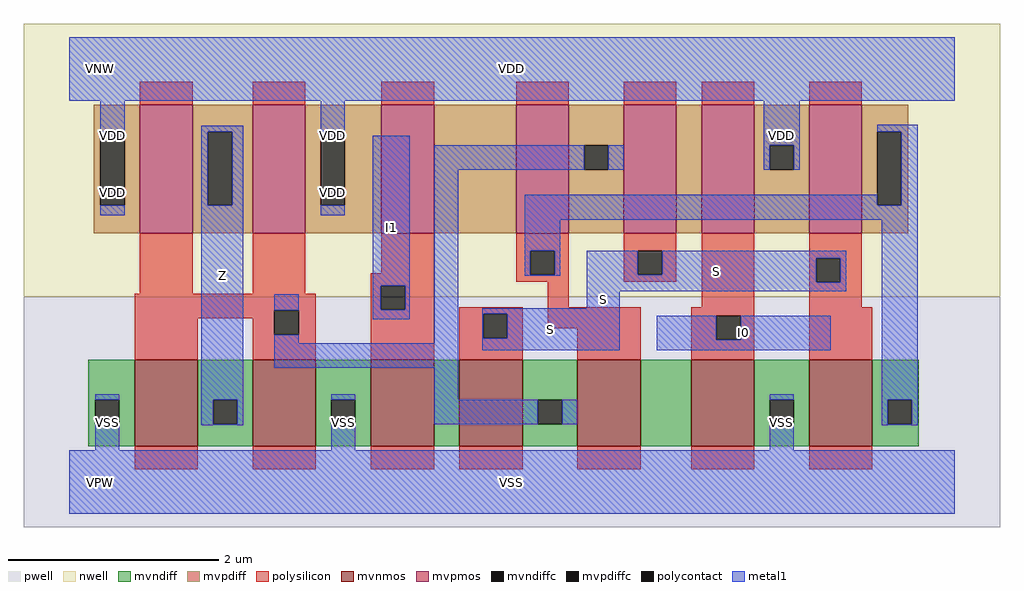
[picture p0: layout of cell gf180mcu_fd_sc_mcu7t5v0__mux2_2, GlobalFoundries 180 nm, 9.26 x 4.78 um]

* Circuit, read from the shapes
.subckt gf180mcu_fd_sc_mcu7t5v0__mux2_2 I0 I1 S Z VDD VNW VPW VSS
XM1 Z n1 VSS VPW nfet_06v0 w=0.82u l=0.6u m=2
XM2 n2 I1 VSS VPW nfet_06v0 w=0.82u l=0.6u
XM3 n1 S n2 VPW nfet_06v0 w=0.82u l=0.6u
XM4 n3 n4 n1 VPW nfet_06v0 w=0.82u l=0.6u
XM5 VSS I0 n3 VPW nfet_06v0 w=0.82u l=0.6u
XM6 n4 S VSS VPW nfet_06v0 w=0.82u l=0.6u
XM7 Z n1 VDD VNW pfet_06v0 w=1.22u l=0.5u m=2
XM8 n5 I1 VDD VNW pfet_06v0 w=1.22u l=0.5u
XM9 n1 n4 n5 VNW pfet_06v0 w=1.22u l=0.5u
XM10 n6 S n1 VNW pfet_06v0 w=1.22u l=0.5u
XM11 VDD I0 n6 VNW pfet_06v0 w=1.22u l=0.5u
XM12 n4 S VDD VNW pfet_06v0 w=1.22u l=0.5u
.ends

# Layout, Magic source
magic
tech gf180mcuD
magscale 1 10
<< nwell >>
rect -86 352 1766 870
<< pwell >>
rect -86 -86 1766 352
<< mvnmos >>
rect 124 68 244 232
rect 348 68 468 232
rect 572 68 692 232
rect 740 68 860 232
rect 964 68 1084 232
rect 1180 68 1300 232
rect 1404 68 1524 232
<< mvpmos >>
rect 134 472 234 716
rect 348 472 448 716
rect 592 472 692 716
rect 848 472 948 716
rect 1052 472 1152 716
rect 1200 472 1300 716
rect 1404 472 1504 716
<< mvndiff >>
rect 36 156 124 232
rect 36 110 49 156
rect 95 110 124 156
rect 36 68 124 110
rect 244 156 348 232
rect 244 110 273 156
rect 319 110 348 156
rect 244 68 348 110
rect 468 156 572 232
rect 468 110 497 156
rect 543 110 572 156
rect 468 68 572 110
rect 692 68 740 232
rect 860 156 964 232
rect 860 110 889 156
rect 935 110 964 156
rect 860 68 964 110
rect 1084 68 1180 232
rect 1300 156 1404 232
rect 1300 110 1329 156
rect 1375 110 1404 156
rect 1300 68 1404 110
rect 1524 156 1612 232
rect 1524 110 1553 156
rect 1599 110 1612 156
rect 1524 68 1612 110
<< mvpdiff >>
rect 46 665 134 716
rect 46 525 59 665
rect 105 525 134 665
rect 46 472 134 525
rect 234 665 348 716
rect 234 525 263 665
rect 309 525 348 665
rect 234 472 348 525
rect 448 665 592 716
rect 448 525 477 665
rect 523 525 592 665
rect 448 472 592 525
rect 692 472 848 716
rect 948 639 1052 716
rect 948 593 977 639
rect 1023 593 1052 639
rect 948 472 1052 593
rect 1152 472 1200 716
rect 1300 639 1404 716
rect 1300 593 1329 639
rect 1375 593 1404 639
rect 1300 472 1404 593
rect 1504 665 1592 716
rect 1504 525 1533 665
rect 1579 525 1592 665
rect 1504 472 1592 525
<< mvndiffc >>
rect 49 110 95 156
rect 273 110 319 156
rect 497 110 543 156
rect 889 110 935 156
rect 1329 110 1375 156
rect 1553 110 1599 156
<< mvpdiffc >>
rect 59 525 105 665
rect 263 525 309 665
rect 477 525 523 665
rect 977 593 1023 639
rect 1329 593 1375 639
rect 1533 525 1579 665
<< polysilicon >>
rect 134 716 234 760
rect 348 716 448 760
rect 592 716 692 760
rect 848 716 948 760
rect 1052 716 1152 760
rect 1200 716 1300 760
rect 1404 716 1504 760
rect 134 357 234 472
rect 348 357 448 472
rect 592 396 692 472
rect 572 373 692 396
rect 848 439 948 472
rect 848 393 875 439
rect 921 393 948 439
rect 848 380 948 393
rect 1052 439 1152 472
rect 1052 393 1079 439
rect 1125 393 1152 439
rect 1052 380 1152 393
rect 124 326 468 357
rect 124 311 389 326
rect 124 232 244 311
rect 348 280 389 311
rect 435 280 468 326
rect 348 232 468 280
rect 572 327 591 373
rect 637 327 692 373
rect 908 332 948 380
rect 1200 332 1300 472
rect 572 232 692 327
rect 740 319 860 332
rect 740 273 785 319
rect 831 273 860 319
rect 908 292 1084 332
rect 740 232 860 273
rect 964 232 1084 292
rect 1180 316 1300 332
rect 1180 270 1228 316
rect 1274 270 1300 316
rect 1180 232 1300 270
rect 1404 425 1504 472
rect 1404 379 1417 425
rect 1463 379 1504 425
rect 1404 332 1504 379
rect 1404 232 1524 332
rect 124 24 244 68
rect 348 24 468 68
rect 572 24 692 68
rect 740 24 860 68
rect 964 24 1084 68
rect 1180 24 1300 68
rect 1404 24 1524 68
<< polycontact >>
rect 875 393 921 439
rect 1079 393 1125 439
rect 389 280 435 326
rect 591 327 637 373
rect 785 273 831 319
rect 1228 270 1274 316
rect 1417 379 1463 425
<< metal1 >>
rect 0 724 1680 844
rect 59 665 105 724
rect 59 506 105 525
rect 250 665 330 676
rect 250 525 263 665
rect 309 525 330 665
rect 49 156 95 167
rect 49 60 95 110
rect 250 156 330 525
rect 477 665 523 724
rect 477 506 523 525
rect 576 373 646 657
rect 1318 639 1386 724
rect 389 326 435 356
rect 576 327 591 373
rect 637 327 646 373
rect 576 309 646 327
rect 692 593 977 639
rect 1023 593 1052 639
rect 1318 593 1329 639
rect 1375 593 1386 639
rect 1533 665 1610 678
rect 389 263 435 280
rect 692 263 738 593
rect 864 525 1533 545
rect 1579 525 1610 665
rect 864 498 1610 525
rect 864 439 932 498
rect 864 393 875 439
rect 921 393 932 439
rect 864 392 932 393
rect 982 393 1079 439
rect 1125 425 1474 439
rect 1125 393 1417 425
rect 982 379 1417 393
rect 1463 379 1474 425
rect 982 362 1474 379
rect 982 330 1044 362
rect 389 217 738 263
rect 784 319 1044 330
rect 784 273 785 319
rect 831 273 1044 319
rect 784 250 1044 273
rect 1115 270 1228 316
rect 1274 270 1445 316
rect 1115 250 1445 270
rect 250 110 273 156
rect 319 110 330 156
rect 250 108 330 110
rect 497 156 543 167
rect 692 156 738 217
rect 1329 156 1375 167
rect 692 110 889 156
rect 935 110 964 156
rect 497 60 543 110
rect 1329 60 1375 110
rect 1542 156 1610 498
rect 1542 110 1553 156
rect 1599 110 1610 156
rect 1542 108 1610 110
rect 0 -60 1680 60
<< labels >>
flabel metal1 s 982 362 1474 439 0 FreeSans 400 0 0 0 S
port 3 nsew default input
flabel metal1 s 0 724 1680 844 0 FreeSans 400 0 0 0 VDD
port 5 nsew power bidirectional abutment
flabel metal1 s 1329 60 1375 167 0 FreeSans 400 0 0 0 VSS
port 8 nsew ground bidirectional abutment
flabel metal1 s 250 108 330 676 0 FreeSans 400 0 0 0 Z
port 4 nsew default output
flabel metal1 s 1115 250 1445 316 0 FreeSans 400 0 0 0 I0
port 1 nsew default input
flabel metal1 s 576 309 646 657 0 FreeSans 400 0 0 0 I1
port 2 nsew default input
flabel nwell s 10 734 110 834 0 FreeSans 400 0 0 0 VNW
port 6 nsew power bidirectional
flabel pwell s 10 -50 110 50 0 FreeSans 400 0 0 0 VPW
port 7 nsew ground bidirectional
rlabel metal1 s 982 330 1044 362 1 S
port 3 nsew default input
rlabel metal1 s 784 250 1044 330 1 S
port 3 nsew default input
rlabel metal1 s 1318 593 1386 724 1 VDD
port 5 nsew power bidirectional abutment
rlabel metal1 s 477 593 523 724 1 VDD
port 5 nsew power bidirectional abutment
rlabel metal1 s 59 593 105 724 1 VDD
port 5 nsew power bidirectional abutment
rlabel metal1 s 477 506 523 593 1 VDD
port 5 nsew power bidirectional abutment
rlabel metal1 s 59 506 105 593 1 VDD
port 5 nsew power bidirectional abutment
rlabel metal1 s 497 60 543 167 1 VSS
port 8 nsew ground bidirectional abutment
rlabel metal1 s 49 60 95 167 1 VSS
port 8 nsew ground bidirectional abutment
rlabel metal1 s 0 -60 1680 60 1 VSS
port 8 nsew ground bidirectional abutment
<< properties >>
string FIXED_BBOX 0 0 1680 784
string GDS_END 668844
string GDS_FILE $PDKPATH/libs.ref/gf180mcu_fd_sc_mcu7t5v0/gds/gf180mcu_fd_sc_mcu7t5v0.gds
string GDS_START 664460
string LEFclass core
string LEFsite GF018hv5v_mcu_sc7
string LEFsymmetry X Y
<< end >>
